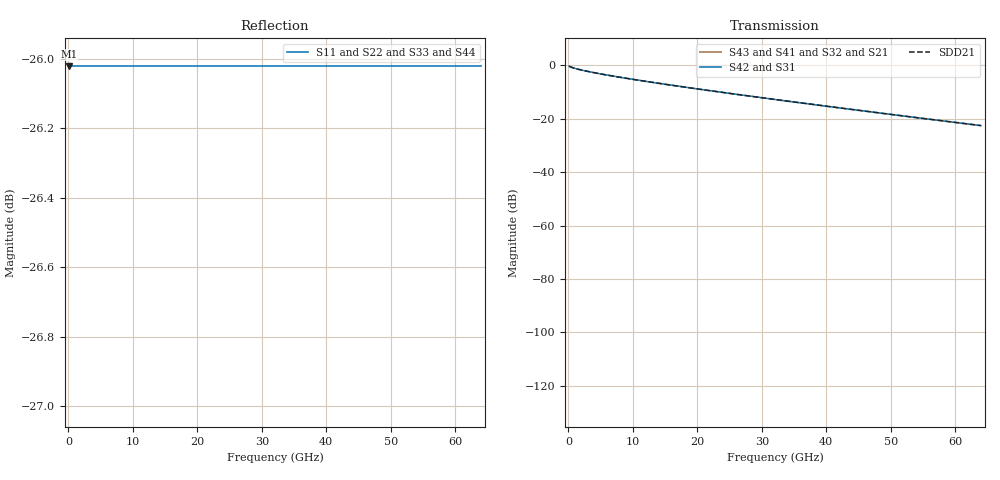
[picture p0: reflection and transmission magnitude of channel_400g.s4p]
# GHz S RI R 50
! True 4-Port Differential Channel: 6 inches
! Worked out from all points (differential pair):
!   500 points, 100 MHz to 64 GHz, reference 50 ohm
!   strongest paths, dB at 100 MHz, 16.11 GHz, 32.11 GHz, 48.12 GHz, 64 GHz:
!     S42: -0.3, -7.5, -12.8, -17.8, -22.6
!     S31: -0.3, -7.5, -12.8, -17.8, -22.6
!     S43: -, -, -, -, -
!     S41: -, -, -, -, -
!     S32: -, -, -, -, -
!     S21: -, -, -, -, -
!   taken as a pair (ports 2,1 in; 4,3 out), SDD21 dB: -0.3, -7.5, -12.8, -17.8, -22.6
!   lowest |S11| = -26.0 dB at 100 MHz (marker M1), VSWR 1.11, Z = 55.3 + j0 ohm
!   |S11| at or under -10 dB: start of sweep to end of sweep
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0.1  0.05 0  0 0  0.7948 -0.5475  0 0
     0 0  0.05 0  0 0  0.7948 -0.5475
     0.7948 -0.5475  0 0  0.05 0  0 0
     0 0  0.7948 -0.5475  0 0  0.05 0
0.7403  0.05 0  0 0  -0.2192 0.869  0 0
        0 0  0.05 0  0 0  -0.2192 0.869
        -0.2192 0.869  0 0  0.05 0  0 0
        0 0  -0.2192 0.869  0 0  0.05 0
1.2525  0.05 0  0 0  0.2534 -0.822  0 0
        0 0  0.05 0  0 0  0.2534 -0.822
        0.2534 -0.822  0 0  0.05 0  0 0
        0 0  0.2534 -0.822  0 0  0.05 0
1.7647  0.05 0  0 0  -0.2853 0.7793  0 0
        0 0  0.05 0  0 0  -0.2853 0.7793
        -0.2853 0.7793  0 0  0.05 0  0 0
        0 0  -0.2853 0.7793  0 0  0.05 0
2.405  0.05 0  0 0  -0.2878 -0.743  0 0
       0 0  0.05 0  0 0  -0.2878 -0.743
       -0.2878 -0.743  0 0  0.05 0  0 0
       0 0  -0.2878 -0.743  0 0  0.05 0
2.9172  0.05 0  0 0  0.2414 0.7343  0 0
        0 0  0.05 0  0 0  0.2414 0.7343
        0.2414 0.7343  0 0  0.05 0  0 0
        0 0  0.2414 0.7343  0 0  0.05 0
64  0.05 0  0 0  -0.0692 -0.0274  0 0
    0 0  0.05 0  0 0  -0.0692 -0.0274
    -0.0692 -0.0274  0 0  0.05 0  0 0
    0 0  -0.0692 -0.0274  0 0  0.05 0
